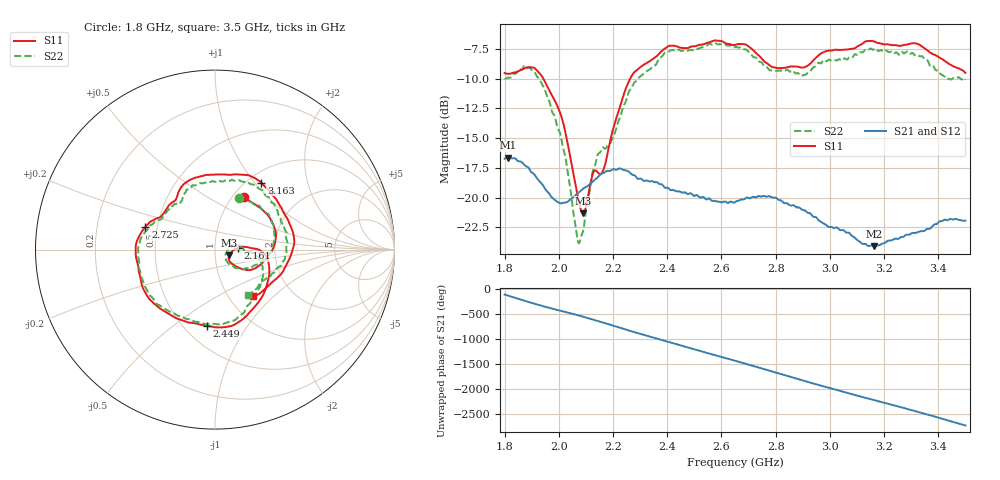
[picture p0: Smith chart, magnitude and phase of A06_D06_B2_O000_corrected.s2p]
! Created with skrf 1.9.0 (http://scikit-rf.org).
# Hz S RI R 50.0
!freq ReS11 ImS11 ReS21 ImS21 ReS12 ImS12 ReS22 ImS22
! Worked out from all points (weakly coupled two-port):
!   1601 points, 1.8 GHz to 3.5 GHz, reference 50 ohm
!   highest |S21| = -16.64 dB at 1.812 GHz (marker M1); lowest = -24.1 dB at 3.162 GHz (marker M2)
!   lowest |S11| = -21.3 dB at 2.09 GHz (marker M3), VSWR 1.19, Z = 58.5 - j3.82 ohm
!   |S11| at or under -10 dB: 1.943 GHz to 2.263 GHz (320.1 MHz wide, 15.2 % of centre)
!   |S22| runs from -23.8 to -7.0 dB; largest |S21 - S12| = 0.0024
!   S11 on the Smith chart (normalised r, x): 1.8 GHz: 1.12, +0.74; 2.161 GHz: 1.29, +0.02; 2.449 GHz: 0.64, -0.67; 2.725 GHz: 0.43, +0.13; 3.163 GHz: 1.15, +1.08; 3.5 GHz: 1.28, -0.75
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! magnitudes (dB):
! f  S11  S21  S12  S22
! 1.8 GHz  -9.5  -16.7  -16.7  -10.0
! 1.812 GHz  -9.6  -16.6  -16.6  -9.9
! 1.88 GHz  -9.1  -17.4  -17.4  -9.1
! 1.942 GHz  -10.0  -19.0  -19.0  -10.6
! 2.011 GHz  -13.3  -20.5  -20.4  -15.3
! 2.067 GHz  -19.5  -19.7  -19.7  -23.2
! 2.084 GHz  -21.2  -19.4  -19.3  -23.2
! 2.09 GHz  -21.3  -19.2  -19.3  -22.8
! 2.128 GHz  -17.8  -18.6  -18.6  -17.6
! 2.161 GHz  -17.8  -17.9  -17.9  -15.8
! 2.26 GHz  -10.1  -17.8  -17.9  -11.0
! 2.367 GHz  -8.0  -18.8  -18.7  -8.4
! 2.449 GHz  -7.4  -19.5  -19.5  -7.6
! 2.65 GHz  -7.2  -20.4  -20.3  -7.3
! 2.725 GHz  -7.8  -20.0  -20.0  -8.2
! 2.799 GHz  -9.1  -20.0  -20.0  -9.4
! 2.934 GHz  -8.6  -21.5  -21.5  -9.2
! 3.162 GHz  -6.8  -24.1  -24.0  -7.5
! 3.163 GHz  -6.9  -24.1  -24.0  -7.5
! 3.217 GHz  -7.1  -23.6  -23.6  -7.8
! 3.324 GHz  -7.1  -22.9  -22.9  -8.0
! 3.5 GHz  -9.5  -21.9  -21.9  -10.1
